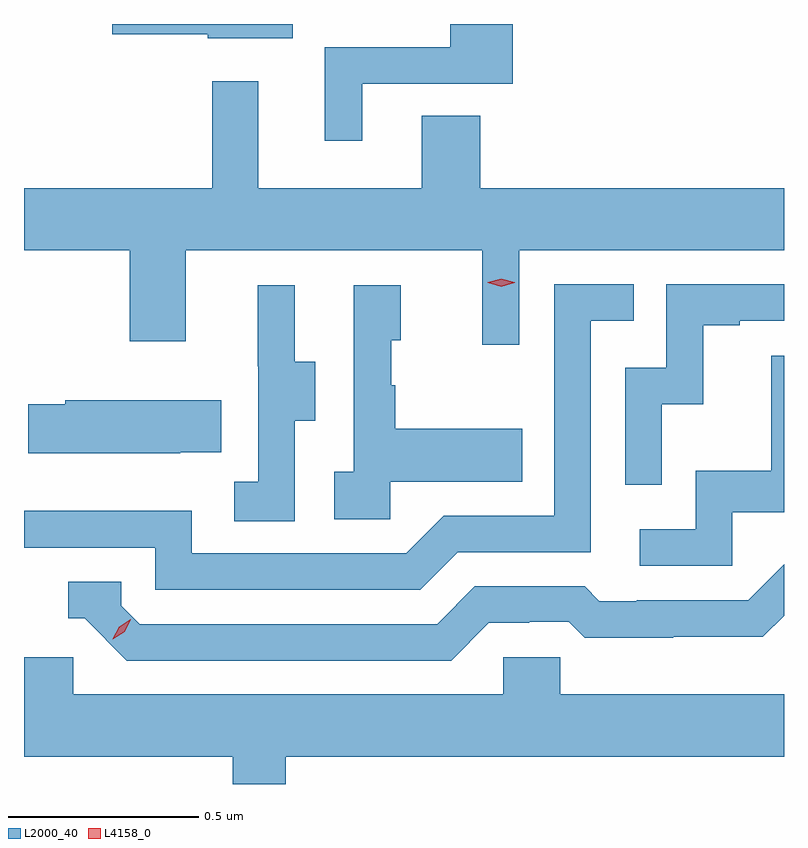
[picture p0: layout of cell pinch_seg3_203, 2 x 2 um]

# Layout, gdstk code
import gdstk
lib = gdstk.Library(unit=1e-6, precision=1e-09)
def P(c, l, *ps):  # polygons
    for p in ps: c.add(gdstk.Polygon(p, *l))
L2000_40 = (2000, 40)
L4158_0 = (4158, 0)

pinch_seg3_203 = lib.new_cell('pinch_seg3_203')
P(pinch_seg3_203, L2000_40, [(972.076,731.991),(972.472,731.991),(972.472,732.148),(972.308,732.148),(972.308,732.087),(971.978,732.087),(971.978,731.841),(972.076,731.841)],
  [(971.893,732.148),(971.418,732.148),(971.418,732.121),(971.67,732.121),(971.67,732.11),(971.893,732.11)],
  [(972.489,731.552),(973.186,731.552),(973.186,731.716),(972.386,731.716),(972.386,731.906),(972.233,731.906),(972.233,731.716),(971.803,731.716),(971.803,731.998),(971.682,731.998),(971.682,731.716),(971.186,731.716),(971.186,731.552),(971.464,731.552),(971.464,731.313),(971.611,731.313),(971.611,731.552),(972.392,731.552),(972.392,731.304),(972.489,731.304)],
  [(972.328,730.758),(972.678,730.758),(972.678,731.367),(972.791,731.367),(972.791,731.463),(972.582,731.463),(972.582,730.854),(972.291,730.854),(972.192,730.755),(971.628,730.755),(971.628,730.867),(971.186,730.867),(971.186,730.77),(971.532,730.77),(971.532,730.659),(972.229,730.659)],
  [(972.864,731.147),(972.974,731.147),(972.974,731.355),(973.069,731.355),(973.069,731.367),(973.186,731.367),(973.186,731.463),(972.876,731.463),(972.876,731.244),(972.768,731.244),(972.768,730.935),(972.864,730.935)],
  [(971.898,731.104),(971.953,731.104),(971.953,731.259),(971.899,731.259),(971.899,731.461),(971.801,731.461),(971.801,731.247),(971.802,731.247),(971.802,730.943),(971.739,730.943),(971.739,730.84),(971.898,730.84)],
  [(972.15,730.943),(972.497,730.943),(972.497,731.083),(972.163,731.083),(972.163,731.198),(972.153,731.198),(972.153,731.316),(972.178,731.316),(972.178,731.461),(972.054,731.461),(972.054,730.97),(972.003,730.97),(972.003,730.845),(972.15,730.845)],
  [(973.05,730.863),(973.186,730.863),(973.186,731.275),(973.153,731.275),(973.153,730.972),(972.954,730.972),(972.954,730.818),(972.807,730.818),(972.807,730.722),(973.05,730.722)],
  [(971.597,731.021),(971.705,731.021),(971.705,731.158),(971.295,731.158),(971.295,731.148),(971.197,731.148),(971.197,731.018),(971.597,731.018)],
  [(972.409,730.572),(972.516,730.572),(972.516,730.575),(972.619,730.575),(972.661,730.533),(972.894,730.533),(972.894,730.535),(973.13,730.535),(973.186,730.591),(973.186,730.726),(973.092,730.632),(972.799,730.632),(972.799,730.629),(972.7,730.629),(972.661,730.668),(972.372,730.668),(972.273,730.569),(971.49,730.569),(971.442,730.617),(971.442,730.68),(971.303,730.68),(971.303,730.584),(971.346,730.584),(971.457,730.473),(972.31,730.473)],
  [(971.875,730.22),(973.186,730.22),(973.186,730.384),(972.597,730.384),(972.597,730.482),(972.447,730.482),(972.447,730.384),(971.316,730.384),(971.316,730.482),(971.186,730.482),(971.186,730.22),(971.735,730.22),(971.735,730.148),(971.875,730.148)])
P(pinch_seg3_203, L4158_0, [(972.442,731.457),(972.406,731.467),(972.406,731.468),(972.406,731.468),(972.442,731.478),(972.477,731.468),(972.478,731.468),(972.477,731.467)],
  [(971.42,730.529),(971.42,730.53),(971.436,730.562),(971.467,730.582),(971.467,730.582),(971.467,730.582),(971.451,730.549),(971.42,730.529)])

lib.write_gds('pinch_seg3_203.gds')
